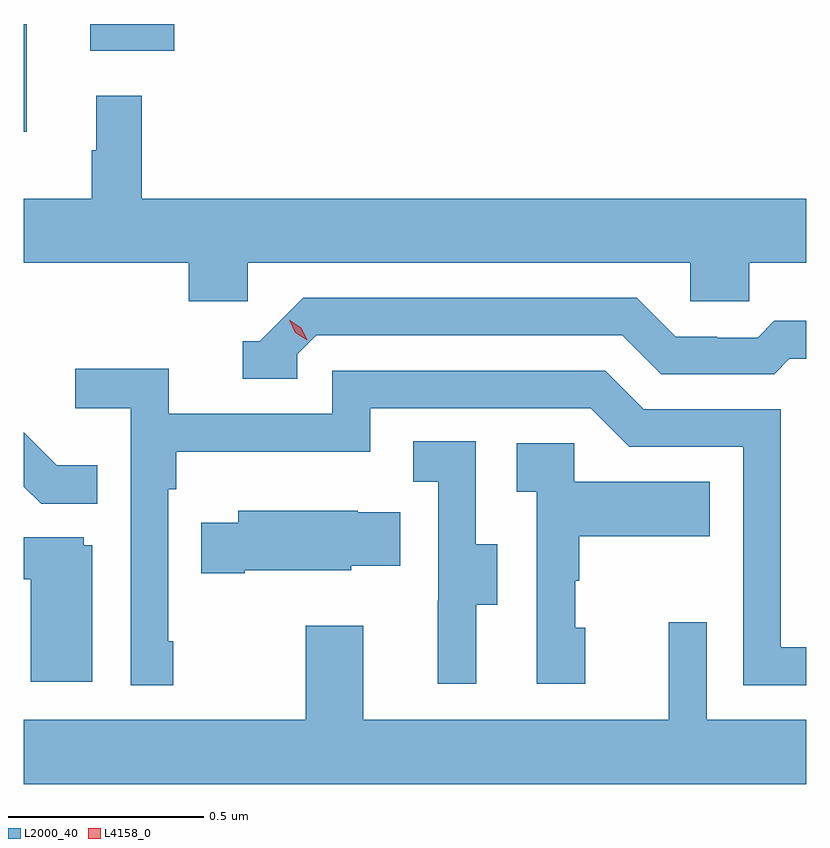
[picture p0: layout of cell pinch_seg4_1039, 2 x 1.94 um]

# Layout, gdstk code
import gdstk
lib = gdstk.Library(unit=1e-6, precision=1e-09)
def R(c, l, rs):  # rectangles x0, y0, x1, y1
    for r in rs: c.add(gdstk.rectangle(r[:2], r[2:], *l))
def P(c, l, *ps):  # polygons
    for p in ps: c.add(gdstk.Polygon(p, *l))
L2000_40 = (2000, 40)
L4158_0 = (4158, 0)

pinch_seg4_1039 = lib.new_cell('pinch_seg4_1039')
R(pinch_seg4_1039, L2000_40, [(806.241,781.172,806.248,781.447), (806.411,781.379,806.626,781.447)])
P(pinch_seg4_1039, L2000_40, [(806.814,780.836),(807.945,780.836),(807.945,780.738),(808.095,780.738),(808.095,780.836),(808.241,780.836),(808.241,781),(806.543,781),(806.543,781.264),(806.426,781.264),(806.426,781.124),(806.415,781.124),(806.415,781),(806.241,781),(806.241,780.836),(806.663,780.836),(806.663,780.738),(806.814,780.738)],
  [(806.94,780.603),(806.988,780.651),(807.771,780.651),(807.87,780.552),(808.159,780.552),(808.198,780.591),(808.241,780.591),(808.241,780.688),(808.159,780.688),(808.117,780.645),(808.014,780.645),(808.014,780.648),(807.907,780.648),(807.808,780.747),(806.955,780.747),(806.844,780.636),(806.801,780.636),(806.801,780.54),(806.94,780.54)],
  [(806.623,779.869),(806.61,779.869),(806.61,780.257),(806.63,780.257),(806.63,780.353),(807.126,780.353),(807.126,780.465),(807.69,780.465),(807.789,780.366),(808.08,780.366),(808.08,779.757),(808.241,779.757),(808.241,779.853),(808.176,779.853),(808.176,780.462),(807.826,780.462),(807.727,780.561),(807.03,780.561),(807.03,780.45),(806.612,780.45),(806.612,780.566),(806.373,780.566),(806.373,780.464),(806.514,780.464),(806.514,779.757),(806.623,779.757)],
  [(806.429,780.319),(806.325,780.319),(806.241,780.403),(806.241,780.264),(806.285,780.22),(806.429,780.22)],
  [(807.397,779.962),(807.451,779.962),(807.451,780.117),(807.396,780.117),(807.396,780.38),(807.237,780.38),(807.237,780.277),(807.3,780.277),(807.3,779.973),(807.299,779.973),(807.299,779.76),(807.397,779.76)],
  [(807.676,779.904),(807.651,779.904),(807.651,780.023),(807.661,780.023),(807.661,780.137),(807.995,780.137),(807.995,780.277),(807.648,780.277),(807.648,780.375),(807.501,780.375),(807.501,780.251),(807.552,780.251),(807.552,779.76),(807.676,779.76)],
  [(806.806,780.05),(807.078,780.05),(807.078,780.062),(807.203,780.062),(807.203,780.199),(807.095,780.199),(807.095,780.202),(806.789,780.202),(806.789,780.172),(806.695,780.172),(806.695,780.043),(806.806,780.043)],
  [(806.416,780.114),(806.394,780.114),(806.394,780.135),(806.241,780.135),(806.241,780.027),(806.258,780.027),(806.258,779.766),(806.416,779.766)],
  [(808.241,779.668),(807.987,779.668),(807.987,779.917),(807.89,779.917),(807.89,779.668),(807.109,779.668),(807.109,779.908),(806.962,779.908),(806.962,779.668),(806.241,779.668),(806.241,779.504),(808.241,779.504)])
P(pinch_seg4_1039, L4158_0, [(806.965,780.638),(806.935,780.658),(806.919,780.691),(806.919,780.691),(806.92,780.691),(806.95,780.671),(806.966,780.638),(806.966,780.638)])

lib.write_gds('pinch_seg4_1039.gds')
